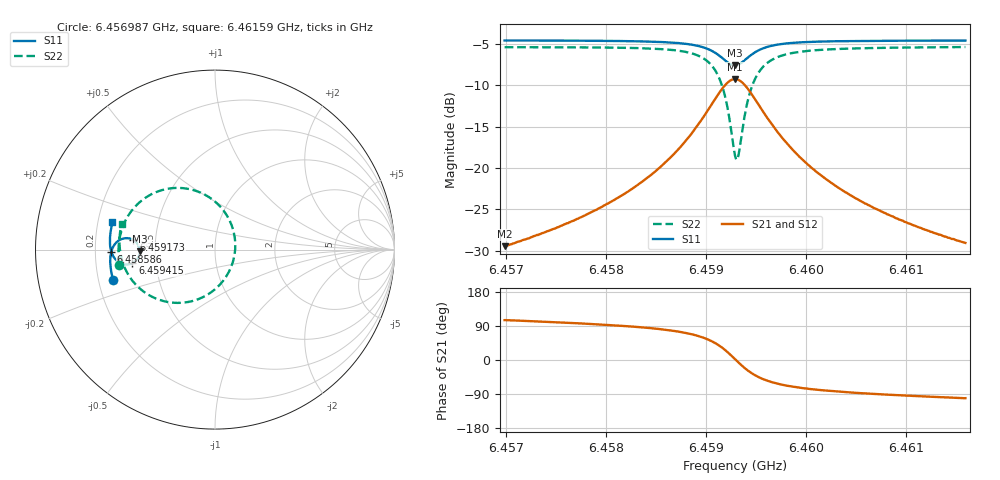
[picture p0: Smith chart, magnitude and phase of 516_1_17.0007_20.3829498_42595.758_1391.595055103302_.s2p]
#  HZ  S  RI  R  50.00
! Rohde & Schwarz Vector Network Analyzer
! Rohde-Schwarz,ZNB20-2Port,1311601062101988,3.16
! Created: UTC 3/20/2024, 11:15:11 PM
! freq[Hz]  re:S11  im:S11  re:S21  im:S21  re:S12  im:S12  re:S22  im:S22
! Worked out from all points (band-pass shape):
!   401 points, 6.456987 GHz to 6.46159 GHz, reference 50 ohm
!   highest |S21| = -9.23 dB at 6.459288 GHz (marker M1); lowest = -29.5 dB at 6.456987 GHz (marker M2)
!   |S21| within 3 dB of the highest: 6.459058 GHz to 6.459519 GHz (460.2 kHz wide, 0.00713 % of centre)
!   lowest |S11| = -7.6 dB at 6.459288 GHz (marker M3), VSWR 2.44, Z = 20.5 - j0.473 ohm
!   |S11| at or under -10 dB: nowhere
!   |S22| runs from -19.0 to -5.3 dB; largest |S21 - S12| = 0.014
!   S11 on the Smith chart (normalised r, x): 6.456987 GHz: 0.26, -0.14; 6.458586 GHz: 0.27, -0.01; 6.459173 GHz: 0.37, +0.05; 6.459415 GHz: 0.37, -0.07; 6.46159 GHz: 0.26, +0.12
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6.4569867e9  -0.5667 -0.1715  -0.00881 0.0325  -0.0071 0.0325  -0.5323 -0.084
6.4577577e9  -0.5807 -0.1041  -0.00557 0.0503  -0.00303 0.0497  -0.5377 0.00616
6.458195e9  -0.5838 -0.06  0.000653 0.0705  0.004 0.0691  -0.529 0.0757
6.4585287e9  -0.5798 -0.0202  0.0142 0.0987  0.0183 0.096  -0.5039 0.1513
6.4585862e9  -0.578 -0.0122  0.0185 0.1055  0.0227 0.1024  -0.4957 0.1681
6.4587934e9  -0.565 0.0199  0.0462 0.1381  0.0502 0.133  -0.4441 0.2407
6.458943e9  -0.5424 0.0462  0.0914 0.1684  0.0946 0.1616  -0.3606 0.3051
6.459081e9  -0.4985 0.0636  0.1785 0.1848  0.1794 0.1775  -0.2014 0.3436
6.4591731e9  -0.4541 0.0534  0.2685 0.1536  0.2686 0.1477  -0.0347 0.2934
6.4592421e9  -0.4251 0.0215  0.3289 0.0818  0.331 0.0765  0.0807 0.1637
6.4592882e9  -0.4181 -0.00951  0.3451 0.0138  0.3489 0.00696  0.113 0.0369
6.4592997e9  -0.4186 -0.0177  0.345 -0.00391  0.349 -0.0115  0.1126 0.00317
6.4593227e9  -0.4222 -0.0332  0.3394 -0.0387  0.3433 -0.0477  0.1015 -0.0627
6.4593687e9  -0.4377 -0.0592  0.3108 -0.0984  0.313 -0.1104  0.0437 -0.1761
6.4594148e9  -0.4597 -0.0756  0.2688 -0.1395  0.2679 -0.1528  -0.0414 -0.2509
6.4595068e9  -0.503 -0.0823  0.184 -0.1706  0.1778 -0.1822  -0.2107 -0.2969
6.4596564e9  -0.5469 -0.0618  0.096 -0.1566  0.0875 -0.1629  -0.3782 -0.2473
6.4598175e9  -0.5685 -0.0342  0.0512 -0.1288  0.0436 -0.1316  -0.4588 -0.1751
6.4600592e9  -0.5811 0.00157  0.0221 -0.0972  0.0164 -0.0978  -0.5066 -0.0925
6.4604044e9  -0.5856 0.0426  0.00624 -0.0705  0.00214 -0.0699  -0.5278 -0.0132
6.4608302e9  -0.5835 0.0853  -0.00163 -0.0519  -0.00432 -0.051  -0.5321 0.055
6.4615897e9  -0.5711 0.1525  -0.00653 -0.0346  -0.00825 -0.0336  -0.5205 0.1446
